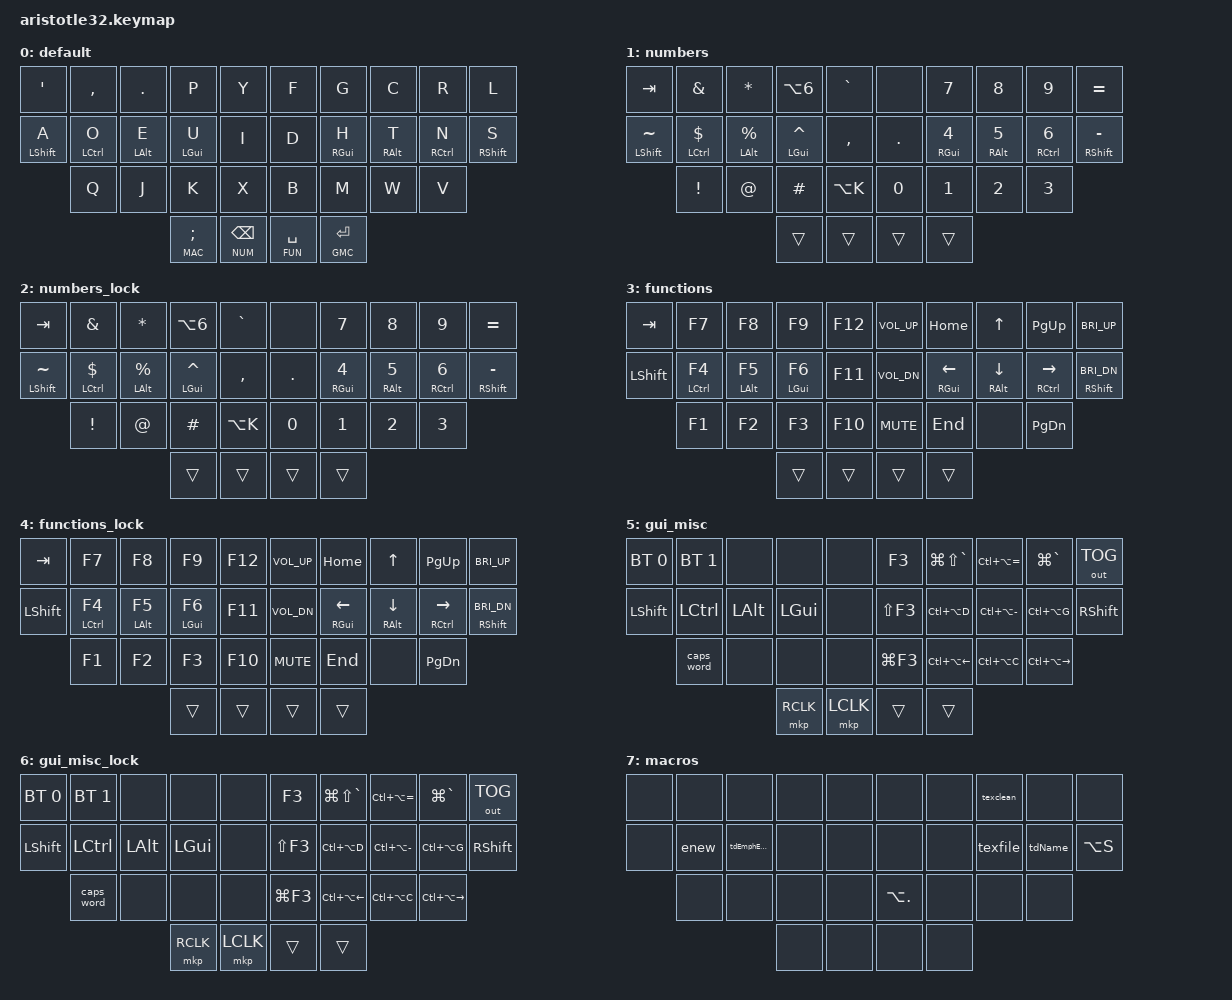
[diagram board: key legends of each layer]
// ================ COPYRIGHT AND INCLUDES ================== {{{1
// Copyright (c) 2022-24 by Bennett Helm
// SPDX-License-Identifier: MIT

#include <behaviors.dtsi>
#include <dt-bindings/zmk/keys.h>
#include <dt-bindings/zmk/bt.h>
#include <dt-bindings/zmk/outputs.h>
#include <dt-bindings/zmk/mouse.h>

// }}}
// ======================= SHORTHANDS ======================= {{{1
// These are shorthand references to keep things simple and tidy in the keymap
// below.

// Layer Names: Default, Numbers, Functions, GUI/Misc
#define DEF 0
#define NUM 1
#define NLK 2
#define FUN 3
#define FLK 4
#define GMC 5
#define GLK 6
#define MAC 7

// Simplify Combos
/*                              32 KEY MATRIX / LAYOUT MAPPING

  ╭────────────────────┬────────────────────╮ ╭─────────────────────┬─────────────────────╮
  │  0   1   2   3   4 │  5   6   7   8   9 │ │ LT4 LT3 LT2 LT1 LT0 │ RT0 RT1 RT2 RT3 RT4 │
  │ 10  11  12  13  14 │ 15  16  17  18  19 │ │ LM4 LM3 LM2 LM1 LM0 │ RM0 RM1 RM2 RM3 RM4 │
  │     20  21  22  23 │ 24  25  26  27     │ │     LB3 LB2 LB1 LB0 │ RB0 RB1 RB2 RB3     │
  ╰───────────╮ 28  29 │ 30  31 ╭───────────╯ ╰───────────╮ LH1 LH0 │ RH0 RH1 ╭───────────╯
              ╰────────┴────────╯                         ╰─────────┴─────────╯             */

#define LT0  4  // left-top row
#define LT1  3
#define LT2  2
#define LT3  1
#define LT4  0

#define RT0  5  // right-top row
#define RT1  6
#define RT2  7
#define RT3  8
#define RT4  9

#define LM0 14  // left-middle row
#define LM1 13
#define LM2 12
#define LM3 11
#define LM4 10

#define RM0 15  // right-middle row
#define RM1 16
#define RM2 17
#define RM3 18
#define RM4 19

#define LB0 23  // left-bottom row
#define LB1 22
#define LB2 21
#define LB3 20

#define RB0 24  // right-bottom row
#define RB1 25
#define RB2 26
#define RB3 27

#define LH0 29  // left thumb keys
#define LH1 28

#define RH0 30  // right thumb keys
#define RH1 31

// For hold-trigger-key-positions, left and right sides
#define LEFTKEYS  <0 1 2 3 4 10 11 12 13 14 20 21 22 23 28 29>
#define RIGHTKEYS <5 6 7 8 9 15 16 17 18 19 24 25 26 27 30 31>


// Improve readability of keycodes
#define ___ &trans

// WINxxxx defines are for shortcuts with Rectangle.app to manipulate windows
#define WIN_PRV     &kp LG(LS(GRAVE))
#define WIN_NXT     &kp LG(GRAVE)
/* #define WIN_BIG &kp LC(LA(LG(RIGHT))) */
/* #define A_WIN_SML   &ms RIGHT_ALT LC(LA(LG(LEFT))) */
/* #define CD_WIN3LFT  &ms RIGHT_GUI LC(LA(LEFT)) */
/* #define CL_WIN3RGT  &ms RIGHT_CONTROL LC(LA(RIGHT)) */
/* #define WIN_LFT &kp LA(LG(LEFT)) */
/* #define WIN_CNT &kp LC(LG(LA(C))) */
/* #define WIN_RGT &kp LA(LG(RIGHT)) */
#define WIN_BIG     &kp LC(LA(EQUAL))
#define A_WIN_SML   &kp LC(LA(MINUS))
#define CD_WIN3LFT  &kp LC(LA(D))
#define CL_WIN3RGT  &kp LC(LA(G))
#define WIN_LFT     &kp LC(LA(LEFT))
#define WIN_CNT     &kp LC(LA(C))
#define WIN_RGT     &kp LC(LA(RIGHT))

// }}}

// ===================== OTHER SETTINGS ===================== {{{1
// Set options for layer-tap behavior

#define QUICK_TAP <200>

&lt {
    tapping-term-ms = <220>;
    // 200: getting some <spaces> *after* subsequently hit keys.
    // 150 was too quick: failed to get <spaces> when desired
    // 175: getting some missed taps, as well as some arrow keys instead of space-char
    // 250 was pretty wonky: getting too many taps when trying to hold
    quick-tap-ms = QUICK_TAP;
    flavor = "tap-preferred";
};
// }}}

/ {
// =================== BEHAVIORS/TAPDANCE =================== {{{1

// tapping-term-ms for home-row mods
#define HOME_FAST <185>
#define HOME_MEDIUM <220>
#define HOME_SLOW <250>

    behaviors {
        hf: homewrow_mods_fast_left {
            compatible = "zmk,behavior-hold-tap";
            #binding-cells = <2>;
            tapping-term-ms = HOME_FAST;
            quick-tap-ms = QUICK_TAP;
            flavor = "tap-preferred";
            /* flavor = "retro-tap"; */
            bindings = <&kp>, <&kp>;
        };
        hm: homewrow_mods_medium_left {
            compatible = "zmk,behavior-hold-tap";
            #binding-cells = <2>;
            tapping-term-ms = HOME_MEDIUM;
            quick-tap-ms = QUICK_TAP;
            flavor = "tap-preferred";
            /* flavor = "retro-tap"; */
            bindings = <&kp>, <&kp>;
        };
        hs: homewrow_mods_slow_left {
            compatible = "zmk,behavior-hold-tap";
            #binding-cells = <2>;
            tapping-term-ms = HOME_SLOW;
            quick-tap-ms = QUICK_TAP;
            flavor = "tap-preferred";
            /* flavor = "retro-tap"; */
            bindings = <&kp>, <&kp>;
        };
        /* lhf: homewrow_mods_fast_left { */
        /*     compatible = "zmk,behavior-hold-tap"; */
        /*     #binding-cells = <2>; */
        /*     tapping-term-ms = HOME_FAST; */
        /*     quick-tap-ms = QUICK_TAP; */
        /*     flavor = "tap-preferred"; */
        /*     /1* flavor = "retro-tap"; *1/ */
        /*     bindings = <&kp>, <&kp>; */
        /*     /1* hold-trigger-key-positions = RIGHTKEYS; *1/ */
        /* }; */
        /* rhf: homewrow_mods_fast_right { */
        /*     compatible = "zmk,behavior-hold-tap"; */
        /*     #binding-cells = <2>; */
        /*     tapping-term-ms = HOME_FAST; */
        /*     quick-tap-ms = QUICK_TAP; */
        /*     flavor = "tap-preferred"; */
        /*     /1* flavor = "retro-tap"; *1/ */
        /*     bindings = <&kp>, <&kp>; */
        /*     /1* hold-trigger-key-positions = LEFTKEYS; *1/ */
        /* }; */
        /* lhm: homewrow_mods_medium_left { */
        /*     compatible = "zmk,behavior-hold-tap"; */
        /*     #binding-cells = <2>; */
        /*     tapping-term-ms = HOME_MEDIUM; */
        /*     quick-tap-ms = QUICK_TAP; */
        /*     flavor = "tap-preferred"; */
        /*     /1* flavor = "retro-tap"; *1/ */
        /*     bindings = <&kp>, <&kp>; */
        /*     /1* hold-trigger-key-positions = RIGHTKEYS; *1/ */
        /* }; */
        /* rhm: homewrow_mods_medium_right { */
        /*     compatible = "zmk,behavior-hold-tap"; */
        /*     #binding-cells = <2>; */
        /*     tapping-term-ms = HOME_MEDIUM; */
        /*     quick-tap-ms = QUICK_TAP; */
        /*     flavor = "tap-preferred"; */
        /*     /1* flavor = "retro-tap"; *1/ */
        /*     bindings = <&kp>, <&kp>; */
        /*     /1* hold-trigger-key-positions = LEFTKEYS; *1/ */
        /* }; */
        /* lhs: homewrow_mods_slow_left { */
        /*     compatible = "zmk,behavior-hold-tap"; */
        /*     #binding-cells = <2>; */
        /*     tapping-term-ms = HOME_SLOW; */
        /*     quick-tap-ms = QUICK_TAP; */
        /*     flavor = "tap-preferred"; */
        /*     /1* flavor = "retro-tap"; *1/ */
        /*     bindings = <&kp>, <&kp>; */
        /*     /1* hold-trigger-key-positions = RIGHTKEYS; *1/ */
        /* }; */
        /* rhs: homewrow_mods_slow_right { */
        /*     compatible = "zmk,behavior-hold-tap"; */
        /*     #binding-cells = <2>; */
        /*     tapping-term-ms = HOME_SLOW; */
        /*     quick-tap-ms = QUICK_TAP; */
        /*     flavor = "tap-preferred"; */
        /*     /1* flavor = "retro-tap"; *1/ */
        /*     bindings = <&kp>, <&kp>; */
        /*     /1* hold-trigger-key-positions = LEFTKEYS; *1/ */
        /* }; */
        tdName: tdName {
            compatible = "zmk,behavior-tap-dance";
            tapping-term-ms = <250>;
            #binding-cells = <0>;
            bindings = <&firstname>, <&lastname>, <&fullname>;
        };
        tdEmphEmail: tdEmphEmail {
            compatible = "zmk,behavior-tap-dance";
            tapping-term-ms = <250>;
            #binding-cells = <0>;
            bindings = <&kp LA(J)>, <&email>;
        };
        tdCapDance: tdCapDance {
            compatible = "zmk,behavior-tap-dance";
            tapping-term-ms = <300>;
            #binding-cells = <0>;
            bindings = <&caps_word>, <&kp CAPS>;
        };
    };  // }}}

// ========================= COMBOS ========================= {{{1

// Combo timeout speeds (in ms). Note: must be enclosed in <>!
#define COMBO_SLOW <35>
#define COMBO_FAST <13>

    combos {
        compatible = "zmk,combos";
        combo_plus {
            timeout-ms = COMBO_FAST;
            key-positions = <RT2 RT3>;
            bindings = <&kp PLUS>;
            layers = <DEF NUM NLK>;
        };
        combo_minus {
            timeout-ms = COMBO_SLOW;
            key-positions = <RM2 RT2>;
            bindings = <&kp MINUS>;
            layers = <DEF NUM NLK>;
        };
        combo_underscore {
            timeout-ms = COMBO_FAST;
            key-positions = <RB1 RB2>;
            bindings = <&kp UNDERSCORE>;
            layers = <DEF NUM NLK>;
        };
        combo_question {
            timeout-ms = COMBO_SLOW;
            key-positions = <LT3 LT2>;
            bindings = <&kp QUESTION>;
            layers = <DEF NUM NLK>;
        };
        combo_slash {
            timeout-ms = COMBO_SLOW;
            key-positions = <LT2 LT1>;
            bindings = <&kp SLASH>;
            layers = <DEF NUM NLK>;
        };
        combo_lbrace {
            timeout-ms = COMBO_SLOW;
            key-positions = <LT3 LM3>;
            bindings = <&kp LEFT_BRACE>;
            layers = <DEF NUM NLK>;
        };
        combo_esc {
            timeout-ms = COMBO_SLOW;
            key-positions = <LT2 LM2>;
            bindings = <&kp ESC>;
            layers = <DEF NUM NLK FUN FLK>;
        };
        combo_backslash {
            timeout-ms = COMBO_SLOW;
            key-positions = <LM1 LM0>;
            bindings = <&kp BACKSLASH>;
            layers = <DEF NUM NLK>;
        };
        combo_pipe {
            timeout-ms = COMBO_SLOW;
            key-positions = <RM0 RM1>;
            bindings = <&kp PIPE>;
            layers = <DEF NUM NLK>;
        };
        combo_asterisk {
            timeout-ms = COMBO_SLOW;
            key-positions = <LT1 LM1>;
            bindings = <&kp ASTRK>;
            layers = <DEF NUM NLK>;
        };
        combo_doublequote {
            timeout-ms = COMBO_SLOW;
            key-positions = <RT1 RM1>;
            bindings = <&kp DQT>;
            layers = <DEF NUM NLK>;
        };
        combo_quoteword {
            timeout-ms = COMBO_SLOW;
            key-positions = <RT1 RM1>;
            bindings = <&kp LA(LEFT_BRACKET)>;
            layers = <MAC>;
        };
        combo_equal {
            timeout-ms = COMBO_FAST;
            key-positions = <RM2 RM3>;
            bindings = <&kp EQUAL>;
            layers = <DEF NUM NLK>;
        };
        combo_rbrace {
            timeout-ms = COMBO_SLOW;
            key-positions = <RT3 RM3>;
            bindings = <&kp RIGHT_BRACE>;
            layers = <DEF NUM NLK>;
        };
        combo_lbracket {
            timeout-ms = COMBO_SLOW;
            key-positions = <LM3 LB3>;
            bindings = <&kp LEFT_BRACKET>;
            layers = <DEF NUM NLK>;
        };
        combo_tilde {
            timeout-ms = COMBO_FAST;
            key-positions = <RM1 RM2>;
            bindings = <&kp TILDE>;
            layers = <DEF NUM NLK>;
        };
        /* combo_tab { */
        /*     timeout-ms = COMBO_SLOW; */
        /*     key-positions = <LM2 LB2>; */
        /*     bindings = <&kp TAB>; */
        /*     layers = <DEF NUM NLK>; */
        /* }; */
        combo_tab {
            timeout-ms = COMBO_SLOW;
            key-positions = <LM2 LB2>;
            bindings = <&kp TAB>;
            layers = <DEF NUM NLK>;
        };
        combo_lparen {
            timeout-ms = COMBO_SLOW;
            key-positions = <LM1 LB1>;
            bindings = <&kp LPAR>;
            layers = <DEF NUM NLK>;
        };
        combo_rparen {
            timeout-ms = COMBO_SLOW;
            key-positions = <RM1 RB1>;
            bindings = <&kp RPAR>;
            layers = <DEF NUM NLK>;
        };
        combo_parenword {
            timeout-ms = COMBO_SLOW;
            key-positions = <RM1 RB1>;
            bindings = <&kp LA(RIGHT_BRACKET)>;
            layers = <MAC>;
        };
        combo_colon {
            timeout-ms = COMBO_SLOW;
            key-positions = <RM2 RB2>;
            bindings = <&kp COLON>;
            layers = <DEF NUM NLK>;
        };
        combo_rbracket {
            timeout-ms = COMBO_SLOW;
            key-positions = <RM3 RB3>;
            bindings = <&kp RIGHT_BRACKET>;
            layers = <DEF NUM NLK>;
        };
        /* combo_capslock { */
        /*     timeout-ms = COMBO_SLOW; */
        /*     key-positions = <10 19>; */
        /*     bindings = <&kp CAPS>; */
        /*     layers = <DEF>; */
        /* }; */
        combo_Z {
            timeout-ms = COMBO_SLOW;
            key-positions = <RB2 RB3>;
            bindings = <&kp Z>;
            layers = <DEF>;
        };
        combo_exclamation {
            timeout-ms = COMBO_SLOW;
            key-positions = <LB3 LB2>;
            bindings = <&kp EXCLAMATION>;
            layers = <DEF NUM NLK>;
        };
        combo_at {
            timeout-ms = COMBO_SLOW;
            key-positions = <LB3 LB2 LB1>;
            bindings = <&kp AT>;
            layers = <DEF NUM NLK>;
        };
        combo_hash {
            timeout-ms = COMBO_SLOW;
            key-positions = <LB2 LB1>;
            bindings = <&kp HASH>;
            layers = <DEF NUM NLK>;
        };
        combo_toDEFLayer {
            timeout-ms = COMBO_SLOW;
            key-positions = <RH0 RH1>;
            bindings = <&to DEF>;
            layers = <DEF NUM NLK FUN FLK GMC GLK>;
        };
        combo_numLock {
            timeout-ms = COMBO_SLOW;
            key-positions = <LT4 LM4>;
            bindings = <&tog NLK>;
            layers = <NUM NLK>;
        };
        combo_funLock {
            timeout-ms = COMBO_SLOW;
            key-positions = <LT4 LM4>;
            bindings = <&tog FLK>;
            layers = <FUN FLK>;
        };
        combo_GMCLock {
            timeout-ms = COMBO_SLOW;
            key-positions = <LT4 LM4>;
            bindings = <&tog GLK>;
            layers = <GMC GLK>;
        };
        combo_BTclr {
            timeout-ms = COMBO_FAST;
            key-positions = <LT3 LM3>;
            bindings = <&bt BT_CLR>;
            layers = <GMC GLK>;
        };
        combo_MCLK {
            timeout-ms = COMBO_SLOW;
            key-positions = <LH0 LH1>;
            bindings = <&mkp MCLK>;
            layers = <GMC GLK>;
        };
        combo_capDance {
            timeout-ms = <75>;
            key-positions = <LH0 LH1>;
            bindings = <&tdCapDance>;
            layers = <DEF>;
        };
        combo_tabedit {
            timeout-ms = COMBO_SLOW;
            key-positions = <LM2 LB2>;
            bindings = <&tabedit>;
            layers = <MAC>;
        };
    };  // }}}

// ========================= MACROS ========================= {{{1
// Docs say `wait-ms` and `tap-ms` should be at least 30 to avoid
// out-of-order keystrokes.
    macros {
        ZMK_MACRO(firstname,
            wait-ms = <10>;
            tap-ms = <10>;
            bindings
                = <&macro_press &kp LSHFT>
                , <&macro_tap &kp B>
                , <&macro_release &kp LSHFT>
                , <&macro_tap &kp E &kp N &kp N &kp E &kp T &kp T>
                ;
        )
        ZMK_MACRO(lastname,
            wait-ms = <10>;
            tap-ms = <10>;
            bindings
                = <&macro_press &kp LSHFT>
                , <&macro_tap &kp H>
                , <&macro_release &kp LSHFT>
                , <&macro_tap &kp E &kp L &kp M>
                ;
        )
        ZMK_MACRO(fullname,
            wait-ms = <15>;
            tap-ms = <5>;
            bindings
                = <&macro_press &kp LSHFT>
                , <&macro_tap &kp B>
                , <&macro_release &kp LSHFT>
                , <&macro_tap &kp E &kp N &kp N &kp E &kp T &kp T &kp SPACE>
                , <&macro_press &kp LSHFT>
                , <&macro_tap &kp H>
                , <&macro_release &kp LSHFT>
                , <&macro_tap &kp E &kp L &kp M>
                ;
        )
        ZMK_MACRO(email,
            wait-ms = <10>;
            tap-ms = <10>;
            bindings
                = <&macro_tap &kp B &kp E &kp N &kp N &kp E &kp T &kp T>
                , <&macro_wait_time 15>
                , <&macro_tap &kp DOT &kp H &kp E &kp L &kp M &kp AT &kp F &kp A &kp N &kp D &kp M>
                , <&macro_wait_time 15>
                , <&macro_tap &kp DOT &kp E &kp D &kp U>
                ;
        )
        ZMK_MACRO(tabedit,
            wait-ms = <50>;
            tap-ms = <5>;
            bindings
                = <&macro_tap &kp ESC &kp COLON>
                , <&macro_wait_time 10>
                , <&macro_tap &kp T &kp A &kp B &kp E &kp RETURN>
                ;
        )
        ZMK_MACRO(texfile,
            wait-ms = <50>;
            tap-ms = <5>;
            bindings
                = <&macro_tap &kp COLON>
                , <&macro_wait_time 10>
                , <&macro_tap &kp T &kp E &kp X &kp RETURN>
                ;
        )
        ZMK_MACRO(texclean,
            wait-ms = <50>;
            tap-ms = <5>;
            bindings
                = <&macro_tap &kp COLON>
                , <&macro_wait_time 10>
                , <&macro_press &kp LSHFT>
                , <&macro_tap &kp T>
                , <&macro_release &kp LSHFT>
                , <&macro_tap &kp E &kp X>
                , <&macro_press &kp LSHFT>
                , <&macro_tap &kp C>
                , <&macro_release &kp LSHFT>
                , <&macro_tap &kp L &kp E &kp A &kp N &kp RETURN>
                ;
        )
        ZMK_MACRO(enew,
            wait-ms = <50>;
            tap-ms = <5>;
            bindings
                = <&macro_tap &kp COLON>
                , <&macro_wait_time 10>
                , <&macro_tap &kp E &kp N &kp E &kp W &kp RETURN>
                ;
        )
};  // }}}

// ======================== KEYMAPS ========================= {{{1
    keymap {
        compatible = "zmk,keymap";
// ---------------------------------------------------- DVORAK -------------------------------------------------- {{{2
        default {
            bindings = <
// ╭──────────┬──────────┬──────────┬──────────┬──────────╮  ╭──────────┬──────────┬──────────┬──────────┬──────────╮
    &kp SQT    &kp COMMA  &kp DOT    &kp P      &kp Y         &kp F      &kp G      &kp C      &kp R      &kp L
// ├──────────┼──────────┼──────────┼──────────┼──────────┤  ├──────────┼──────────┼──────────┼──────────┼──────────┤
    &hf LSHFT A &hf LCTRL O &hm LALT E &hs LGUI U &kp I       &kp D      &hs RGUI H &hm RALT T &hm RCTRL N &hf RSHFT S
// ╰──────────┴──────────┴──────────┴──────────┴──────────┤  ├──────────┴──────────┴──────────┴──────────┴──────────╯
               &kp Q      &kp J      &kp K      &kp X         &kp B      &kp M      &kp W      &kp V
//            ╰──────────┴──────┬───┴────────┬─┴──────────┤  ├──────────┴──┬───────┴────┬─────┴──────────╯
                                 &lt MAC SEMI &lt NUM BSPC    &lt FUN SPACE &lt GMC ENTER
//                              ╰────────────┴────────────╯  ╰─────────────┴────────────╯
            >;
      };  // }}}
//  ---------------------------------------------------- NUMBERS ------------------------------------------------ {{{2
        numbers {
            bindings = <
// ╭──────────┬──────────┬──────────┬──────────┬──────────╮  ╭──────────┬──────────┬──────────┬──────────┬──────────╮
    &kp TAB    &kp AMPS   &kp ASTRK  &kp LA(N6) &kp GRAVE     &none      &kp N7     &kp N8     &kp N9     &kp EQUAL
// ├──────────┼──────────┼──────────┼──────────┼──────────┤  ├──────────┼──────────┼──────────┼──────────┼──────────┤
    &hs LSHFT TILDE &hs LCTRL DLLR &hs LALT PRCNT &hs LGUI CARET &kp COMMA   &kp DOT &hs RGUI N4 &hs RALT N5 &hs RCTRL N6 &hs RSHFT MINUS
// ╰──────────┴──────────┴──────────┴──────────┴──────────┤  ├──────────┴──────────┴──────────┴──────────┴──────────╯
               &kp EXCL   &kp AT     &kp HASH   &kp LA(K)     &kp N0     &kp N1     &kp N2     &kp N3
//            ╰──────────┴──────┬───┴────────┬─┴──────────┤  ├──────────┴──┬───────┴────┬─────┴──────────╯
                                 ___          ___             ___           ___
//                              ╰────────────┴────────────╯  ╰─────────────┴────────────╯
            >;
      };  // }}}
//  ------------------------------------------------- NUMBERS LOCK ---------------------------------------------- {{{2
// NOTE: This is exactly the same as NUMBERS
        numbers_lock {
            bindings = <
// ╭──────────┬──────────┬──────────┬──────────┬──────────╮  ╭──────────┬──────────┬──────────┬──────────┬──────────╮
    &kp TAB    &kp AMPS   &kp ASTRK  &kp LA(N6) &kp GRAVE     &none      &kp N7     &kp N8     &kp N9     &kp EQUAL
// ├──────────┼──────────┼──────────┼──────────┼──────────┤  ├──────────┼──────────┼──────────┼──────────┼──────────┤
    &hs LSHFT TILDE &hs LCTRL DLLR &hs LALT PRCNT &hs LGUI CARET &kp COMMA   &kp DOT &hs RGUI N4 &hs RALT N5 &hs RCTRL N6 &hs RSHFT MINUS
// ╰──────────┴──────────┴──────────┴──────────┴──────────┤  ├──────────┴──────────┴──────────┴──────────┴──────────╯
               &kp EXCL   &kp AT     &kp HASH   &kp LA(K)     &kp N0     &kp N1     &kp N2     &kp N3
//            ╰──────────┴──────┬───┴────────┬─┴──────────┤  ├──────────┴──┬───────┴────┬─────┴──────────╯
                                 ___          ___             ___           ___
//                              ╰────────────┴────────────╯  ╰─────────────┴────────────╯
            >;
      };  // }}}
// --------------------------------------------------- FUNCTIONS ------------------------------------------------ {{{2
        functions {
            bindings = <
// ╭──────────┬──────────┬──────────┬──────────┬──────────╮  ╭──────────┬──────────┬──────────┬──────────┬──────────╮
    &kp TAB    &kp F7     &kp F8     &kp F9     &kp F12      &kp C_VOL_UP &kp HOME  &kp UP     &kp PG_UP &kp C_BRI_UP
// ├──────────┼──────────┼──────────┼──────────┼──────────┤  ├──────────┼──────────┼──────────┼──────────┼──────────┤
    &kp LSHFT &hs LCTRL F4 &hs LALT F5 &hs LGUI F6 &kp F11   &kp C_VOL_DN &hs RGUI LEFT &hs RALT DOWN &hs RCTRL RIGHT &hs RSHFT C_BRI_DN
// ╰──────────┴──────────┴──────────┴──────────┴──────────┤  ├──────────┴──────────┴──────────┴──────────┴──────────╯
               &kp F1     &kp F2     &kp F3     &kp F10       &kp C_MUTE &kp END    &none      &kp PG_DN
//            ╰──────────┴──────┬───┴────────┬─┴──────────┤  ├──────────┴──┬───────┴────┬─────┴──────────╯
                                 ___          ___             ___           ___
//                              ╰────────────┴────────────╯  ╰─────────────┴────────────╯
            >;
      };  // }}}
// ------------------------------------------------ FUNCTIONS LOCK ---------------------------------------------- {{{2
// NOTE: This is exactly the same as FUNCTIONS
        functions_lock {
            bindings = <
// ╭──────────┬──────────┬──────────┬──────────┬──────────╮  ╭──────────┬──────────┬──────────┬──────────┬──────────╮
    &kp TAB    &kp F7     &kp F8     &kp F9     &kp F12      &kp C_VOL_UP &kp HOME  &kp UP     &kp PG_UP &kp C_BRI_UP
// ├──────────┼──────────┼──────────┼──────────┼──────────┤  ├──────────┼──────────┼──────────┼──────────┼──────────┤
    &kp LSHFT &hs LCTRL F4 &hs LALT F5 &hs LGUI F6 &kp F11   &kp C_VOL_DN &hs RGUI LEFT &hs RALT DOWN &hs RCTRL RIGHT &hs RSHFT C_BRI_DN
// ╰──────────┴──────────┴──────────┴──────────┴──────────┤  ├──────────┴──────────┴──────────┴──────────┴──────────╯
               &kp F1     &kp F2     &kp F3     &kp F10       &kp C_MUTE &kp END    &none      &kp PG_DN
//            ╰──────────┴──────┬───┴────────┬─┴──────────┤  ├──────────┴──┬───────┴────┬─────┴──────────╯
                                 ___          ___             ___           ___
//                              ╰────────────┴────────────╯  ╰─────────────┴────────────╯
            >;
      };  // }}}
// --------------------------------------------------- GUI/MISC ------------------------------------------------- {{{2
// |       |       |  M Up | Whl Up|  Accl2|          |       |       |       |       |       |
// |       |  M Lft|  M Dn |  M Rgt|  Accl1|          |       |       |       |       |       |
// |       |       |       | Whl Dn|  Accl0|          |       |       |       |       |       |
//                                 | LftBtn|          | RgtBtn|  ---- |
//
        gui_misc {
            bindings = <
// ╭──────────┬──────────┬──────────┬──────────┬──────────╮  ╭──────────┬──────────┬──────────┬──────────┬──────────╮
   &bt BT_SEL 0 &bt BT_SEL 1 &none   &none      &none         &kp F3     WIN_PRV    WIN_BIG    WIN_NXT   &out OUT_TOG
// ├──────────┼──────────┼──────────┼──────────┼──────────┤  ├──────────┼──────────┼──────────┼──────────┼──────────┤
    &kp LSHFT  &kp LCTRL  &kp LALT   &kp LGUI   &none         &kp LS(F3) CD_WIN3LFT A_WIN_SML  CL_WIN3RGT &kp RSHIFT
// ╰──────────┴──────────┴──────────┴──────────┴──────────┤  ├──────────┴──────────┴──────────┴──────────┴──────────╯
               &caps_word &none      &none      &none         &kp LG(F3) WIN_LFT    WIN_CNT    WIN_RGT
//            ╰──────────┴──────┬───┴────────┬─┴──────────┤  ├──────────┴──┬───────┴────┬─────┴──────────╯
                                 &mkp RCLK    &mkp LCLK       ___           ___
//                              ╰────────────┴────────────╯  ╰─────────────┴────────────╯
             >;
      };  // }}}
// ------------------------------------------------ GUI/MISC LOCK ----------------------------------------------- {{{2
// |       |       |  M Up | Whl Up|  Accl2|          |       |       |       |       |       |
// |       |  M Lft|  M Dn |  M Rgt|  Accl1|          |       |       |       |       |       |
// |       |       |       | Whl Dn|  Accl0|          |       |       |       |       |       |
//                                 | LftBtn|          | RgtBtn|  ---- |
//
// NOTE: This is exactly the same as GUI/MISC
        gui_misc_lock {
            bindings = <
// ╭──────────┬──────────┬──────────┬──────────┬──────────╮  ╭──────────┬──────────┬──────────┬──────────┬──────────╮
   &bt BT_SEL 0 &bt BT_SEL 1 &none   &none      &none         &kp F3     WIN_PRV    WIN_BIG    WIN_NXT   &out OUT_TOG
// ├──────────┼──────────┼──────────┼──────────┼──────────┤  ├──────────┼──────────┼──────────┼──────────┼──────────┤
    &kp LSHFT  &kp LCTRL  &kp LALT   &kp LGUI   &none         &kp LS(F3) CD_WIN3LFT A_WIN_SML  CL_WIN3RGT &kp RSHIFT
// ╰──────────┴──────────┴──────────┴──────────┴──────────┤  ├──────────┴──────────┴──────────┴──────────┴──────────╯
               &caps_word &none      &none      &none         &kp LG(F3) WIN_LFT    WIN_CNT    WIN_RGT
//            ╰──────────┴──────┬───┴────────┬─┴──────────┤  ├──────────┴──┬───────┴────┬─────┴──────────╯
                                 &mkp RCLK    &mkp LCLK       ___           ___
//                              ╰────────────┴────────────╯  ╰─────────────┴────────────╯
             >;
      }; // }}}
// ---------------------------------------------------- MACROS -------------------------------------------------- {{{2
// NOTE: I have the following mappings defined in vim:
//   ∆ -> \emph{}
//   “ -> \enquote{} -- defined in combos
//   ≥ -> \textbf{}
//   ß -> \textsc{}
//   ” -> ( ... ) [surround with parens] -- defined in combos
        macros {
            bindings = <
// ╭──────────┬──────────┬──────────┬──────────┬──────────╮  ╭──────────┬──────────┬──────────┬──────────┬──────────╮
    &none      &none      &none      &none      &none         &none      &none      &texclean  &none      &none
// ├──────────┼──────────┼──────────┼──────────┼──────────┤  ├──────────┼──────────┼──────────┼──────────┼──────────┤
    &none      &enew      &tdEmphEmail &none    &none         &none      &none      &texfile   &tdName    &kp LA(S)
// ╰──────────┴──────────┴──────────┴──────────┴──────────┤  ├──────────┴──────────┴──────────┴──────────┴──────────╯
               &none      &none      &none      &none         &kp LA(DOT) &none     &none      &none
//            ╰──────────┴──────┬───┴────────┬─┴──────────┤  ├──────────┴──┬───────┴────┬─────┴──────────╯
                                 &none        &none           &none         &none
//                              ╰────────────┴────────────╯  ╰─────────────┴────────────╯
            >;
      };  // }}}
  };  // keymap }}}
};

// vim: fdm=marker ft=c
